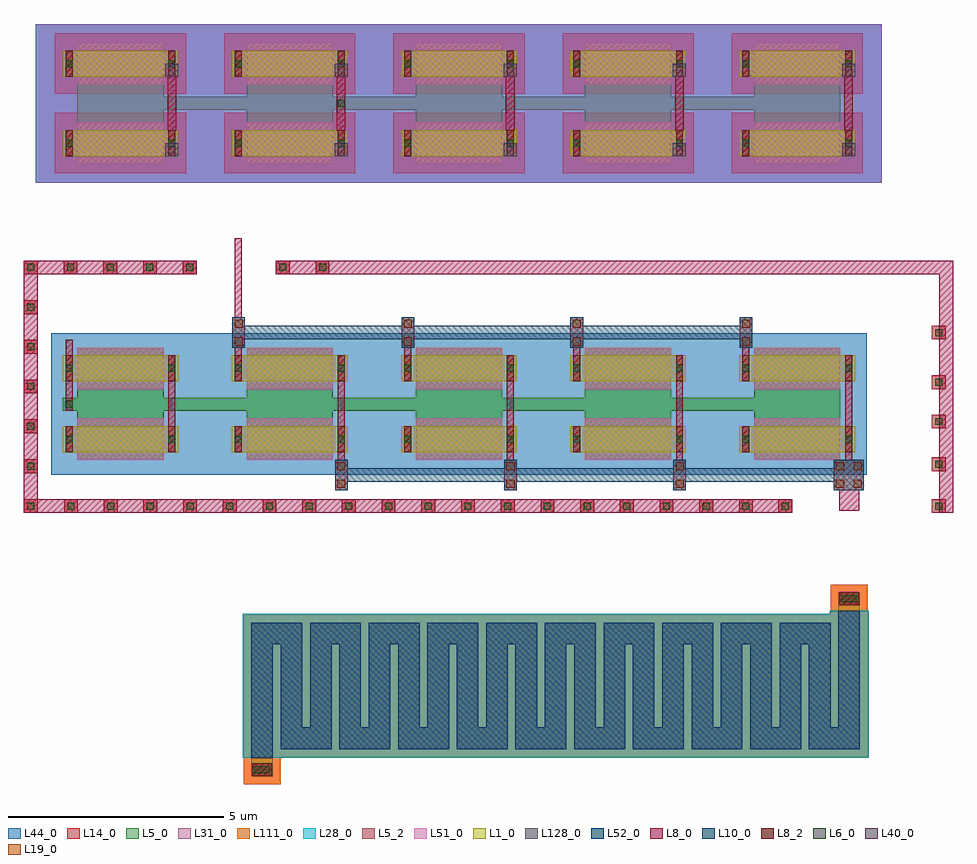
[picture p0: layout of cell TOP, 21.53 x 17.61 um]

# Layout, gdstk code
import gdstk
lib = gdstk.Library(unit=1e-6, precision=1e-09)
def R(c, l, rs):  # rectangles x0, y0, x1, y1
    for r in rs: c.add(gdstk.rectangle(r[:2], r[2:], *l))
def A(c, l, x, y, w, h, nx, ny, dx, dy):  # array of equal rectangles
    R(c, l, [(x+i*dx, y+j*dy, x+i*dx+w, y+j*dy+h) for i in range(nx) for j in range(ny)])
L1_0 = (1, 0)
L5_0 = (5, 0)
L5_2 = (5, 2)
L6_0 = (6, 0)
L8_0 = (8, 0)
L8_2 = (8, 2)
L10_0 = (10, 0)
L14_0 = (14, 0)
L19_0 = (19, 0)
L28_0 = (28, 0)
L31_0 = (31, 0)
L40_0 = (40, 0)
L44_0 = (44, 0)
L51_0 = (51, 0)
L52_0 = (52, 0)
L111_0 = (111, 0)
L128_0 = (128, 0)

nmoshv = lib.new_cell('nmosHV')
R(nmoshv, L1_0, [(0,0,0.3,0.3), (0,0,2.68,0.6), (2.38,0,2.68,0.3)])
R(nmoshv, L5_0, [(0.34,-0.18,2.34,0.78)])
R(nmoshv, L5_2, [(0.34,-0.18,2.34,0.78)])
R(nmoshv, L6_0, [(0.07,0.22,0.23,0.38), (2.45,0.22,2.61,0.38)])
R(nmoshv, L8_0, [(0.07,0,0.23,0.6), (2.45,0,2.61,0.6)])
R(nmoshv, L8_2, [(0.07,0,0.23,0.6), (2.45,0,2.61,0.6)])
R(nmoshv, L44_0, [(-0.27,-0.52,2.95,1.12)])
R(nmoshv, L51_0, [(0.34,-0.18,2.34,0.78)])
nmoshv.add(gdstk.Label('nmosHV', (1.34,0.3), layer=63, texttype=0))
nmoshv.add(gdstk.Label('nmosHV', (1.34,0.3), layer=51, texttype=0))

pmoshv = lib.new_cell('pmosHV')
R(pmoshv, L1_0, [(0,0,0.3,0.3), (0,0,2.68,0.6), (2.38,0,2.68,0.3)])
R(pmoshv, L5_0, [(0.34,-0.18,2.34,0.78)])
R(pmoshv, L5_2, [(0.34,-0.18,2.34,0.78)])
R(pmoshv, L6_0, [(0.07,0.22,0.23,0.38), (2.45,0.22,2.61,0.38)])
R(pmoshv, L8_0, [(0.07,0,0.23,0.6), (2.45,0,2.61,0.6)])
R(pmoshv, L8_2, [(0.07,0,0.23,0.6), (2.45,0,2.61,0.6)])
R(pmoshv, L14_0, [(-0.18,-0.4,2.86,1)])
R(pmoshv, L31_0, [(-0.62,-0.62,3.3,1.22)])
R(pmoshv, L40_0, [(2.38,0,2.68,0.3)])
R(pmoshv, L44_0, [(-0.62,-0.62,3.3,1.22)])
R(pmoshv, L51_0, [(0.34,-0.18,2.34,0.78)])
pmoshv.add(gdstk.Label('pmosHV', (1.34,0.3), layer=63, texttype=0))
pmoshv.add(gdstk.Label('pmos', (1.34,0.3), layer=51, texttype=0))

rppd = lib.new_cell('rppd')
R(rppd, L5_0, [(0,-0.43,0.5,-0.2), (0,-0.2,0.5,0), (13.6,3.4,14.1,3.6), (13.6,3.6,14.1,3.83)])
R(rppd, L6_0, [(0.07,-0.36,0.43,-0.2), (13.67,3.6,14.03,3.76)])
R(rppd, L8_0, [(0.02,-0.43,0.48,-0.13), (13.62,3.53,14.08,3.83)])
R(rppd, L8_2, [(0.02,-0.43,0.48,-0.13), (13.62,3.53,14.08,3.83)])
R(rppd, L14_0, [(-0.18,-0.61,0.68,0.02), (-0.18,0.02,14.28,3.31), (13.42,3.31,14.28,3.4), (13.42,3.4,14.28,4.01)])
R(rppd, L28_0, [(-0.2,0,14.3,3.33), (13.4,3.33,14.3,3.4)])
A(rppd, L52_0, 0.68, 0.2, 1.18, 0.5, 10, 1, 1.36, 0)
A(rppd, L52_0, 0.68, 0.7, 0.5, 1.93, 19, 1, 0.68, 0)
A(rppd, L52_0, 0, 2.63, 1.18, 0.5, 10, 1, 1.36, 0)
R(rppd, L52_0, [(0,0,0.5,2.63), (13.6,0.7,14.1,3.4)])
R(rppd, L111_0, [(-0.18,-0.61,0.68,0), (-0.2,0,14.3,3.33), (13.4,3.33,14.3,3.4), (13.42,3.4,14.28,4.01)])
A(rppd, L128_0, 0.68, 0.2, 1.18, 0.5, 10, 1, 1.36, 0)
A(rppd, L128_0, 0.68, 0.7, 0.5, 1.93, 19, 1, 0.68, 0)
A(rppd, L128_0, 0, 2.63, 1.18, 0.5, 10, 1, 1.36, 0)
R(rppd, L128_0, [(0,0,0.5,2.63), (13.6,0.7,14.1,3.4)])
rppd.add(gdstk.Label('rppd r=29192.452', (0.25,0.965), layer=63, texttype=0))
rppd.add(gdstk.Label('rppd', (0.25,1.315), layer=52, texttype=0))
rppd.add(gdstk.Label('rppd', (0.59,2.88), layer=52, texttype=0))
rppd.add(gdstk.Label('rppd', (0.93,1.665), layer=52, texttype=0))
rppd.add(gdstk.Label('rppd', (1.27,0.45), layer=52, texttype=0))
rppd.add(gdstk.Label('rppd', (1.61,1.665), layer=52, texttype=0))
rppd.add(gdstk.Label('rppd', (1.95,2.88), layer=52, texttype=0))
rppd.add(gdstk.Label('rppd', (2.29,1.665), layer=52, texttype=0))
rppd.add(gdstk.Label('rppd', (2.63,0.45), layer=52, texttype=0))
rppd.add(gdstk.Label('rppd', (2.97,1.665), layer=52, texttype=0))
rppd.add(gdstk.Label('rppd', (3.31,2.88), layer=52, texttype=0))
rppd.add(gdstk.Label('rppd', (3.65,1.665), layer=52, texttype=0))
rppd.add(gdstk.Label('rppd', (3.99,0.45), layer=52, texttype=0))
rppd.add(gdstk.Label('rppd', (4.33,1.665), layer=52, texttype=0))
rppd.add(gdstk.Label('rppd', (4.67,2.88), layer=52, texttype=0))
rppd.add(gdstk.Label('rppd', (5.01,1.665), layer=52, texttype=0))
rppd.add(gdstk.Label('rppd', (5.35,0.45), layer=52, texttype=0))
rppd.add(gdstk.Label('rppd', (5.69,1.665), layer=52, texttype=0))
rppd.add(gdstk.Label('rppd', (6.03,2.88), layer=52, texttype=0))
rppd.add(gdstk.Label('rppd', (6.37,1.665), layer=52, texttype=0))
rppd.add(gdstk.Label('rppd', (6.71,0.45), layer=52, texttype=0))
rppd.add(gdstk.Label('rppd', (7.05,1.665), layer=52, texttype=0))
rppd.add(gdstk.Label('rppd', (7.39,2.88), layer=52, texttype=0))
rppd.add(gdstk.Label('rppd', (7.73,1.665), layer=52, texttype=0))
rppd.add(gdstk.Label('rppd', (8.07,0.45), layer=52, texttype=0))
rppd.add(gdstk.Label('rppd', (8.41,1.665), layer=52, texttype=0))
rppd.add(gdstk.Label('rppd', (8.75,2.88), layer=52, texttype=0))
rppd.add(gdstk.Label('rppd', (9.09,1.665), layer=52, texttype=0))
rppd.add(gdstk.Label('rppd', (9.43,0.45), layer=52, texttype=0))
rppd.add(gdstk.Label('rppd', (9.77,1.665), layer=52, texttype=0))
rppd.add(gdstk.Label('rppd', (10.11,2.88), layer=52, texttype=0))
rppd.add(gdstk.Label('rppd', (10.45,1.665), layer=52, texttype=0))
rppd.add(gdstk.Label('rppd', (10.79,0.45), layer=52, texttype=0))
rppd.add(gdstk.Label('rppd', (11.13,1.665), layer=52, texttype=0))
rppd.add(gdstk.Label('rppd', (11.47,2.88), layer=52, texttype=0))
rppd.add(gdstk.Label('rppd', (11.81,1.665), layer=52, texttype=0))
rppd.add(gdstk.Label('rppd', (12.15,0.45), layer=52, texttype=0))
rppd.add(gdstk.Label('rppd', (12.49,1.665), layer=52, texttype=0))
rppd.add(gdstk.Label('rppd', (12.83,2.88), layer=52, texttype=0))
rppd.add(gdstk.Label('rppd', (13.17,1.665), layer=52, texttype=0))
rppd.add(gdstk.Label('rppd', (13.51,0.45), layer=52, texttype=0))
rppd.add(gdstk.Label('rppd', (13.85,2.05), layer=52, texttype=0))

via_stack = lib.new_cell('via_stack')
R(via_stack, L8_0, [(-0.145,-0.35,0.145,0.35)])
R(via_stack, L10_0, [(-0.145,-0.35,0.145,0.35)])
R(via_stack, L19_0, [(-0.095,-0.3,0.095,-0.11), (-0.095,0.11,0.095,0.3)])

via_stack_1 = lib.new_cell('via_stack$1')
R(via_stack_1, L8_0, [(-0.35,-0.35,0.35,0.35)])
R(via_stack_1, L10_0, [(-0.35,-0.35,0.35,0.35)])
R(via_stack_1, L19_0, [(-0.3,-0.3,-0.11,-0.11), (0.11,-0.3,0.3,-0.11), (-0.3,0.11,-0.11,0.3), (0.11,0.11,0.3,0.3)])

top = lib.new_cell('TOP')
A(top, L6_0, 2.8, 1.22, 0.16, 0.16, 18, 1, 0.92, 0)
A(top, L6_0, 1.87, 3.07, 0.16, 0.16, 1, 5, 0, 0.92)
A(top, L6_0, 1.87, 6.75, 0.16, 0.16, 5, 1, 0.92, 0)
R(top, L6_0, [(1.87,1.22,2.03,1.38), (2.8,1.22,2.96,1.38), (19.35,1.22,19.51,1.38), (22.91,1.22,23.07,1.38), (1.87,2.14,2.03,2.3), (22.91,2.19,23.07,2.35), (22.91,3.18,23.07,3.34), (2.76,3.58,2.92,3.74), (22.91,4.09,23.07,4.25), (22.91,5.24,23.07,5.4), (7.71,6.75,7.87,6.91), (8.63,6.75,8.79,6.91), (8.63,6.75,8.79,6.91), (9.06,10.55,9.22,10.71)])
A(top, L14_0, 2.72, 1.14, 0.32, 0.32, 18, 1, 0.92, 0)
A(top, L14_0, 1.79, 2.99, 0.32, 0.32, 1, 5, 0, 0.92)
A(top, L14_0, 1.79, 6.67, 0.32, 0.32, 5, 1, 0.92, 0)
R(top, L14_0, [(1.79,1.14,2.11,1.46), (2.72,1.14,3.04,1.46), (19.27,1.14,19.59,1.46), (22.83,1.14,23.15,1.46), (1.79,2.06,2.11,2.38), (22.83,2.11,23.15,2.43), (22.83,3.1,23.15,3.42), (22.83,4.01,23.15,4.33), (22.83,5.16,23.15,5.48), (7.63,6.67,7.95,6.99), (8.55,6.67,8.87,6.99), (8.55,6.67,8.87,6.99)])
R(top, L44_0, [(2.42,2.03,21.32,5.31)])
top.add(gdstk.FlexPath([(9.14,1.67),(9.14,4.79)], 0.16, ends="flush", simple_path=True, layer=8, datatype=0))  # L8_0
top.add(gdstk.FlexPath([(16.98,1.67),(16.98,4.79)], 0.16, ends="flush", simple_path=True, layer=8, datatype=0))  # L8_0
top.add(gdstk.FlexPath([(20.9,1.67),(20.9,4.79)], 0.16, ends="flush", simple_path=True, layer=8, datatype=0))  # L8_0
top.add(gdstk.FlexPath([(6.76,4.19),(6.76,7.51)], 0.16, ends="flush", simple_path=True, layer=8, datatype=0))  # L8_0
top.add(gdstk.FlexPath([(10.68,4.79),(10.68,5.67)], 0.16, ends="flush", simple_path=True, layer=8, datatype=0))  # L8_0
top.add(gdstk.FlexPath([(14.6,4.79),(14.6,5.67)], 0.16, ends="flush", simple_path=True, layer=8, datatype=0))  # L8_0
top.add(gdstk.FlexPath([(18.52,4.79),(18.52,5.67)], 0.16, ends="flush", simple_path=True, layer=8, datatype=0))  # L8_0
top.add(gdstk.FlexPath([(5.22,3.15),(5.22,4.19)], 0.16, ends="flush", simple_path=True, layer=8, datatype=0))  # L8_0
top.add(gdstk.FlexPath([(20.9,11.25),(20.9,10.01)], 0.2, ends="flush", simple_path=True, layer=8, datatype=0))  # L8_0
top.add(gdstk.FlexPath([(16.98,11.25),(16.98,10.01)], 0.2, ends="flush", simple_path=True, layer=8, datatype=0))  # L8_0
top.add(gdstk.FlexPath([(13.06,11.25),(13.06,10.01)], 0.2, ends="flush", simple_path=True, layer=8, datatype=0))  # L8_0
top.add(gdstk.FlexPath([(5.22,11.25),(5.22,10.01)], 0.2, ends="flush", simple_path=True, layer=8, datatype=0))  # L8_0
top.add(gdstk.FlexPath([(13.06,1.67),(13.06,4.79)], 0.16, ends="flush", simple_path=True, layer=8, datatype=0))  # L8_0
top.add(gdstk.FlexPath([(20.91,1.19),(20.91,2.02)], 0.46, ends="flush", simple_path=True, layer=8, datatype=0))  # L8_0
top.add(gdstk.FlexPath([(2.84,3.51),(2.84,5.15)], 0.16, ends="flush", simple_path=True, layer=8, datatype=0))  # L8_0
top.add(gdstk.FlexPath([(7.63,6.83),(23.16,6.83),(23.16,1.14)], 0.32, ends="flush", simple_path=True, layer=8, datatype=0))  # L8_0
top.add(gdstk.FlexPath([(5.79,6.83),(1.95,6.83),(1.95,1.3),(19.59,1.3)], 0.32, ends="flush", simple_path=True, layer=8, datatype=0))  # L8_0
top.add(gdstk.FlexPath([(9.14,11.25),(9.14,10.01)], 0.2, ends="flush", simple_path=True, layer=8, datatype=0))  # L8_0
top.add(gdstk.FlexPath([(19.71,10.63),(4.03,10.63)], 0.3, ends="flush", simple_path=True, layer=5, datatype=0))  # L5_0
top.add(gdstk.FlexPath([(4.03,4.49),(4.03,2.85)], 2, ends="flush", simple_path=True, layer=5, datatype=0))  # L5_0
top.add(gdstk.FlexPath([(7.95,4.49),(7.95,2.85)], 2, ends="flush", simple_path=True, layer=5, datatype=0))  # L5_0
top.add(gdstk.FlexPath([(11.87,4.49),(11.87,2.85)], 2, ends="flush", simple_path=True, layer=5, datatype=0))  # L5_0
top.add(gdstk.FlexPath([(4.03,11.07),(4.03,10.19)], 2, ends="flush", simple_path=True, layer=5, datatype=0))  # L5_0
top.add(gdstk.FlexPath([(7.95,11.07),(7.95,10.19)], 2, ends="flush", simple_path=True, layer=5, datatype=0))  # L5_0
top.add(gdstk.FlexPath([(11.87,11.07),(11.87,10.19)], 2, ends="flush", simple_path=True, layer=5, datatype=0))  # L5_0
top.add(gdstk.FlexPath([(15.79,4.49),(15.79,2.85)], 2, ends="flush", simple_path=True, layer=5, datatype=0))  # L5_0
top.add(gdstk.FlexPath([(15.79,11.07),(15.79,10.19)], 2, ends="flush", simple_path=True, layer=5, datatype=0))  # L5_0
top.add(gdstk.FlexPath([(19.71,11.07),(19.71,10.19)], 2, ends="flush", simple_path=True, layer=5, datatype=0))  # L5_0
top.add(gdstk.FlexPath([(19.71,4.49),(19.71,2.85)], 2, ends="flush", simple_path=True, layer=5, datatype=0))  # L5_0
top.add(gdstk.FlexPath([(2.69,3.66),(18.71,3.66)], 0.3, ends="flush", simple_path=True, layer=5, datatype=0))  # L5_0
top.add(gdstk.FlexPath([(20.76,2.02),(9.29,2.02)], 0.32, ends="flush", simple_path=True, layer=10, datatype=0))  # L10_0
top.add(gdstk.FlexPath([(6.62,5.32),(18.67,5.32)], 0.32, ends="flush", simple_path=True, layer=10, datatype=0))  # L10_0
top.add(gdstk.Reference(nmoshv, (14.45,4.19)))
top.add(gdstk.Reference(nmoshv, (18.37,4.19)))
top.add(gdstk.Reference(nmoshv, (2.69,4.19)))
top.add(gdstk.Reference(pmoshv, (2.69,9.41)))
top.add(gdstk.Reference(pmoshv, (6.61,9.41)))
top.add(gdstk.Reference(pmoshv, (10.53,11.25)))
top.add(gdstk.Reference(pmoshv, (6.61,11.25)))
top.add(gdstk.Reference(pmoshv, (10.53,9.41)))
top.add(gdstk.Reference(nmoshv, (10.53,4.19)))
top.add(gdstk.Reference(pmoshv, (14.45,11.25)))
top.add(gdstk.Reference(pmoshv, (14.45,9.41)))
top.add(gdstk.Reference(pmoshv, (18.37,11.25)))
top.add(gdstk.Reference(pmoshv, (18.37,9.41)))
top.add(gdstk.Reference(rppd, (7.06,-4.53)))
top.add(gdstk.Reference(nmoshv, (6.61,4.19)))
top.add(gdstk.Reference(nmoshv, (18.37,2.55)))
top.add(gdstk.Reference(nmoshv, (14.45,2.55)))
top.add(gdstk.Reference(nmoshv, (6.61,2.55)))
top.add(gdstk.Reference(via_stack, (9.145,2.02)))
top.add(gdstk.Reference(via_stack, (13.065,2.02)))
top.add(gdstk.Reference(nmoshv, (10.53,2.55)))
top.add(gdstk.Reference(via_stack, (16.985,2.02)))
top.add(gdstk.Reference(via_stack, (14.6,5.32)))
top.add(gdstk.Reference(via_stack, (18.525,5.32)))
top.add(gdstk.Reference(pmoshv, (2.69,11.25)))
top.add(gdstk.Reference(via_stack, (10.685,5.32)))
top.add(gdstk.Reference(via_stack_1, (20.905,2.02)))
top.add(gdstk.Reference(via_stack, (6.765,5.32)))
top.add(gdstk.Reference(nmoshv, (2.69,2.55)))

lib.write_gds('TOP.gds')
